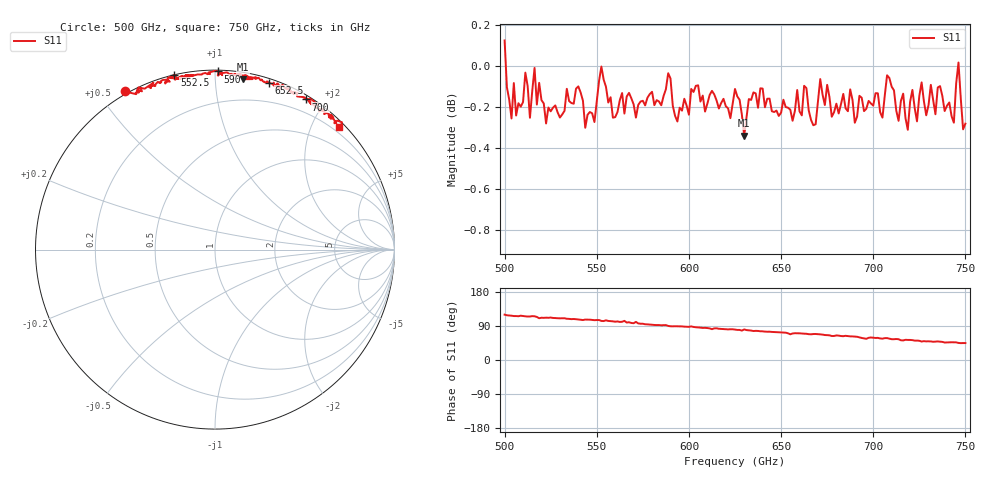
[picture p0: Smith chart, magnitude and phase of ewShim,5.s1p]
!Created with mwavepy.
# GHz S RI R 50.0
!freq	ReS11	ImS11
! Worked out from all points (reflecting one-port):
!   201 points, 500 GHz to 750 GHz, reference 50 ohm
!   lowest |S11| = -0.3 dB at 630 GHz (marker M1), VSWR 51.09, Z = 2.33 + j58.7 ohm
!   phase of S11 starts at 120 deg and turns -75 deg over the sweep
!   S11 on the Smith chart (normalised r, x): 500 GHz: -0.01, +0.58; 552.5 GHz: 0.00, +0.79; 590 GHz: 0.01, +1.02; 652.5 GHz: 0.03, +1.37; 700 GHz: 0.05, +1.77; 750 GHz: 0.11, +2.43
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500  -0.5023 0.8812
! Port Impedance 50.00000000000000 0.00000000000000
506.25  -0.4255 0.8745
516.25  -0.4273 0.9028
518.75  -0.3432 0.9291
531.25  -0.3361 0.9133
552.5  -0.2266 0.9736
562.5  -0.1777 0.9647
565  -0.2243 0.9474
566.25  -0.1516 0.9712
570  -0.1207 0.9712
571.25  -0.178 0.955
572.5  -0.1113 0.972
590  0.017 0.9928
593.75  0.0175 0.9691
625  0.1691 0.9725
628.75  0.2097 0.95
630  0.1544 0.9491
635  0.2306 0.9579
652.5  0.2999 0.93
655  0.3674 0.9039
656.25  0.3317 0.9112
687.5  0.4578 0.8743
696.25  0.5473 0.8084
700  0.507 0.8363
716.25  0.611 0.772
718.75  0.5811 0.7701
726.25  0.6538 0.7444
750  0.6887 0.6804
